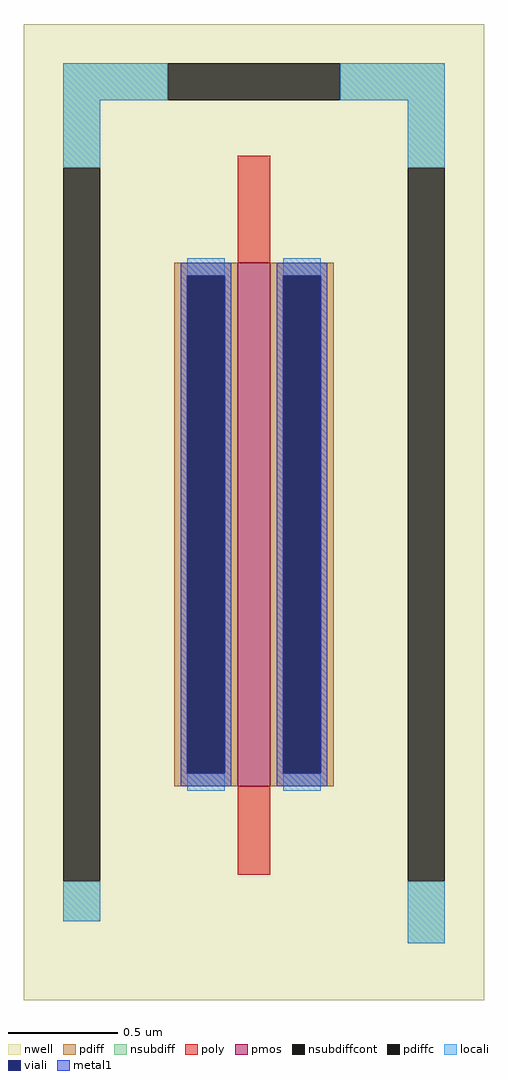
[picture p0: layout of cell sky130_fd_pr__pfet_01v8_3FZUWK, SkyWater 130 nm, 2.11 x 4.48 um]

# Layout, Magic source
magic
tech sky130A
magscale 1 2
<< nwell >>
rect -211 -436 211 459
<< pmos >>
rect -15 -240 15 240
<< pdiff >>
rect -73 228 -15 240
rect -73 -228 -61 228
rect -27 -228 -15 228
rect -73 -240 -15 -228
rect 15 228 73 240
rect 15 -228 27 228
rect 61 -228 73 228
rect 15 -240 73 -228
<< pdiffc >>
rect -61 -228 -27 228
rect 27 -228 61 228
<< nsubdiff >>
rect -175 389 -79 423
rect 79 389 175 423
rect -175 327 -141 389
rect 141 327 175 389
rect -175 -364 -141 -327
rect 141 -384 175 -327
<< nsubdiffcont >>
rect -79 389 79 423
rect -175 -327 -141 327
rect 141 -327 175 327
<< poly >>
rect -15 240 15 338
rect -15 -321 15 -240
<< locali >>
rect -175 389 -79 423
rect 79 389 175 423
rect -175 327 -141 389
rect 141 327 175 389
rect -61 228 -27 244
rect -61 -244 -27 -228
rect 27 228 61 244
rect 27 -244 61 -228
rect -175 -364 -141 -327
rect 141 -384 175 -327
<< viali >>
rect -61 -228 -27 228
rect 27 -228 61 228
<< metal1 >>
rect -67 228 -21 240
rect -67 -228 -61 228
rect -27 -228 -21 228
rect -67 -240 -21 -228
rect 21 228 67 240
rect 21 -228 27 228
rect 61 -228 67 228
rect 21 -240 67 -228
<< properties >>
string gencell sky130_fd_pr__pfet_01v8
string FIXED_BBOX -158 -406 158 406
string parameters w 2.4 l 0.15 m 1 nf 1 diffcov 100 polycov 100 guard 1 glc 1 grc 1 gtc 1 gbc 1 tbcov 100 rlcov 100 topc 1 botc 1 poverlap 0 doverlap 1 lmin 0.15 wmin 0.42 compatible {sky130_fd_pr__pfet_01v8  sky130_fd_pr__pfet_01v8_lvt sky130_fd_pr__pfet_01v8_hvt  sky130_fd_pr__pfet_g5v0d10v5} full_metal 1 viagl 0 viagr 0 viagt 0 viagb 0 viagate 100 viadrn 100 viasrc 100
string library sky130
<< end >>
